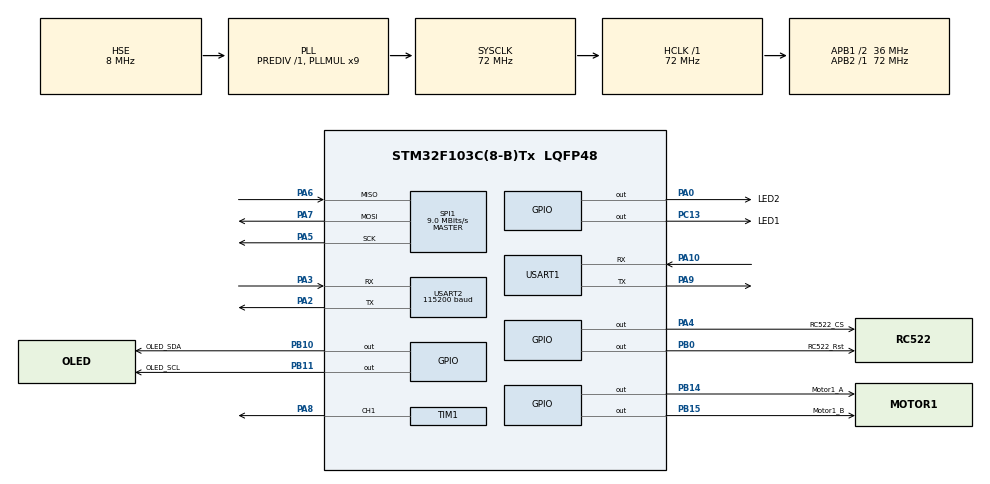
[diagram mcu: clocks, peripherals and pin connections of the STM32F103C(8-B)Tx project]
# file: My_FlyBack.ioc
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Dma.Request0=USART2_RX
Dma.Request1=USART2_TX
Dma.USART2_RX.0.Direction=DMA_PERIPH_TO_MEMORY
Dma.USART2_RX.0.Instance=DMA1_Channel6
Dma.USART2_RX.0.MemDataAlignment=DMA_MDATAALIGN_BYTE
Dma.USART2_RX.0.MemInc=DMA_MINC_ENABLE
Dma.USART2_RX.0.Mode=DMA_CIRCULAR
Dma.USART2_RX.0.PeriphDataAlignment=DMA_PDATAALIGN_BYTE
Dma.USART2_RX.0.PeriphInc=DMA_PINC_DISABLE
Dma.USART2_RX.0.Priority=DMA_PRIORITY_HIGH
Dma.USART2_TX.1.Direction=DMA_MEMORY_TO_PERIPH
Dma.USART2_TX.1.Instance=DMA1_Channel7
Dma.USART2_TX.1.MemDataAlignment=DMA_MDATAALIGN_BYTE
Dma.USART2_TX.1.MemInc=DMA_MINC_ENABLE
Dma.USART2_TX.1.Mode=DMA_CIRCULAR
Dma.USART2_TX.1.PeriphDataAlignment=DMA_PDATAALIGN_BYTE
Dma.USART2_TX.1.PeriphInc=DMA_PINC_DISABLE
Dma.USART2_TX.1.Priority=DMA_PRIORITY_LOW
Mcu.Family=STM32F1
Mcu.Name=STM32F103C(8-B)Tx
Mcu.Package=LQFP48
NVIC.DMA1_Channel6_IRQn=true\:0\:0\:false\:false\:true\:false\:true\:true
NVIC.DMA1_Channel7_IRQn=true\:0\:0\:false\:false\:true\:false\:true\:true
NVIC.PriorityGroup=NVIC_PRIORITYGROUP_4
NVIC.TIM2_IRQn=true\:2\:0\:true\:false\:true\:true\:true\:true
NVIC.USART2_IRQn=true\:0\:0\:false\:false\:true\:true\:true\:true
PA0-WKUP.GPIO_Label=LED2
PA0-WKUP.Signal=GPIO_Output
PA10.Mode=Asynchronous
PA10.Signal=USART1_RX
PA13.Mode=Serial_Wire
PA13.Signal=SYS_JTMS-SWDIO
PA14.Mode=Serial_Wire
PA14.Signal=SYS_JTCK-SWCLK
PA2.Mode=Asynchronous
PA2.Signal=USART2_TX
PA3.Mode=Asynchronous
PA3.Signal=USART2_RX
PA4.GPIO_Label=RC522_CS
PA4.Signal=GPIO_Output
PA5.Mode=Full_Duplex_Master
PA5.Signal=SPI1_SCK
PA6.Mode=Full_Duplex_Master
PA6.Signal=SPI1_MISO
PA7.Mode=Full_Duplex_Master
PA7.Signal=SPI1_MOSI
PA8.Signal=S_TIM1_CH1
PA9.Mode=Asynchronous
PA9.Signal=USART1_TX
PB0.GPIO_Label=RC522_Rst
PB0.Signal=GPIO_Output
PB10.GPIO_Label=OLED_SDA
PB10.GPIO_ModeDefaultOutputPP=GPIO_MODE_OUTPUT_OD
PB10.GPIO_PuPd=GPIO_PULLUP
PB10.GPIO_Speed=GPIO_SPEED_FREQ_HIGH
PB10.PinState=GPIO_PIN_SET
PB10.Signal=GPIO_Output
PB11.GPIO_Label=OLED_SCL
PB11.GPIO_Speed=GPIO_SPEED_FREQ_HIGH
PB11.Signal=GPIO_Output
PB14.GPIO_Label=Motor1_A
PB14.Signal=GPIO_Output
PB15.GPIO_Label=Motor1_B
PB15.Signal=GPIO_Output
PC13-TAMPER-RTC.GPIO_Label=LED1
PC13-TAMPER-RTC.Signal=GPIO_Output
PD0-OSC_IN.Mode=HSE-External-Oscillator
PD0-OSC_IN.Signal=RCC_OSC_IN
PD1-OSC_OUT.Mode=HSE-External-Oscillator
PD1-OSC_OUT.Signal=RCC_OSC_OUT
ProjectManager.HeapSize=0x200
ProjectManager.StackSize=0x400
ProjectManager.TargetToolchain=SW4STM32
RCC.AHBFreq_Value=72000000
RCC.APB1CLKDivider=RCC_HCLK_DIV2
RCC.APB1Freq_Value=36000000
RCC.APB1TimFreq_Value=72000000
RCC.APB2Freq_Value=72000000
RCC.APB2TimFreq_Value=72000000
RCC.HCLKFreq_Value=72000000
RCC.PLLMUL=RCC_PLL_MUL9
RCC.PLLSourceVirtual=RCC_PLLSOURCE_HSE
RCC.SYSCLKFreq_VALUE=72000000
RCC.SYSCLKSource=RCC_SYSCLKSOURCE_PLLCLK
RCC.USBFreq_Value=72000000
SH.S_TIM1_CH1.0=TIM1_CH1,PWM Generation1 CH1
SPI1.BaudRatePrescaler=SPI_BAUDRATEPRESCALER_8
SPI1.CalculateBaudRate=9.0 MBits/s
SPI1.Direction=SPI_DIRECTION_2LINES
SPI1.Mode=SPI_MODE_MASTER
SPI1.VirtualType=VM_MASTER
TIM1.Channel-PWM\ Generation1\ CH1=TIM_CHANNEL_1
TIM1.Period=100 - 1
TIM1.Prescaler=720 - 1
TIM1.Pulse-PWM\ Generation1\ CH1=50
TIM2.Period=1000 - 1
TIM2.Prescaler=720 - 1
USART1.VirtualMode=VM_ASYNC
USART2.BaudRate=115200
USART2.VirtualMode=VM_ASYNC
VP_TIM1_VS_ClockSourceINT.Mode=Internal
VP_TIM2_VS_ClockSourceINT.Mode=Internal
board=custom

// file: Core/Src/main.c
/* USER CODE BEGIN Header */
/**
  ******************************************************************************
  * @file           : main.c
  * @brief          : Main program body
  ******************************************************************************
  * @attention
  *
  * Copyright (c) 2023 STMicroelectronics.
  * All rights reserved.
  *
  * This software is licensed under terms that can be found in the LICENSE file
  * in the root directory of this software component.
  * If no LICENSE file comes with this software, it is provided AS-IS.
  *
  ******************************************************************************
  */
/* USER CODE END Header */
#include <stdarg.h>
#include "main.h"
#include "dma.h"
#include "spi.h"
#include "tim.h"
#include "usart.h"
#include "gpio.h"

/* USER CODE BEGIN Includes */
#include "string.h"
#include "retarget.h"
#include "Motor.h"
#include "Uart_RxPackage.h"
#include "OLED.h"
#include "My_printf.h"
/* USER CODE END Includes */

void SystemClock_Config(void);
/* USER CODE BEGIN PFP */
//#define temp(p) ( (int)(*(p+=sizeof(int))) )
#define temp(p,l) ( (*(l*)(p += sizeof(l))) )
//#define MY_va_arg(v,l)  ( (*(l*)(v += sizeof(l))) )
typedef struct
{
    char b;
    uint16_t a;
    char c;
}__attribute__((packed))Test1;

typedef struct
{
    char c;
    int a;
    char b;
}__attribute__((packed))Test2;
/* USER CODE END PFP */

/* USER CODE BEGIN 0 */
uint8_t k = 0;
uint16_t i = 0,j = 0;
UartRx_Package Uart2_Package;
uint8_t Last_Package[200];
MY_va_list temp;
/* USER CODE END 0 */

int main(void)
{

  /* MCU Configuration--------------------------------------------------------*/

  /* Reset of all peripherals, Initializes the Flash interface and the Systick. */
  HAL_Init();

  /* USER CODE BEGIN Init */
    RetargetInit(&huart1); //重定向串口二
    MY_Retarget(&huart1);
    //HAL_DMA_Start(&hdma1,);
  /* USER CODE END Init */

  /* Configure the system clock */
  SystemClock_Config();

  /* Initialize all configured peripherals */
  MX_GPIO_Init();
  MX_TIM1_Init();
  MX_TIM2_Init();
  MX_DMA_Init();
  MX_SPI1_Init();
  MX_USART2_UART_Init();
  MX_USART1_UART_Init();
  /* USER CODE BEGIN 2 */
    Uart_RxPackage_Init(&Uart2_Package,&htim2,200,&huart2); //初始化串口接收数组
    Uart2_Package.PackageStart(&Uart2_Package);
    HAL_Delay(250);

    OLED_Init();
    OLED_ShowString(1,3,"NICE");
    OLED_ShowString(3,10,"APP");

    int a = 100;
    char string[10];
    double b = 5.5;
    char c = 'p';
    //printf("a = %d\tb = %f\tc = %c\tstring = %s\r\n",a,b,c,"I got it!");
    HAL_Delay(100);
    MY_printf("a = %d\tb = %f\tc = %c\tstring = %s\r\n",a,b,c,"I got it!");
    /* USER CODE END 2 */

  /* Infinite loop */
  while (1)
  {

    /* USER CODE BEGIN 3 */
    //printf("A = %d\r\n",a);
      if(Uart2_Package.RxEndFalg == 1) //说明串口中断接收结束
    {
        Uart_DoTask(&Uart2_Package);
    }
      HAL_GPIO_TogglePin(LED1_GPIO_Port,LED1_Pin);
      HAL_Delay(100);
  }
  /* USER CODE END 3 */
}

void SystemClock_Config(void)
{
  RCC_OscInitTypeDef RCC_OscInitStruct = {0};
  RCC_ClkInitTypeDef RCC_ClkInitStruct = {0};

  /** Initializes the RCC Oscillators according to the specified parameters
  * in the RCC_OscInitTypeDef structure.
  */
  RCC_OscInitStruct.OscillatorType = RCC_OSCILLATORTYPE_HSE;
  RCC_OscInitStruct.HSEState = RCC_HSE_ON;
  RCC_OscInitStruct.HSEPredivValue = RCC_HSE_PREDIV_DIV1;
  RCC_OscInitStruct.HSIState = RCC_HSI_ON;
  RCC_OscInitStruct.PLL.PLLState = RCC_PLL_ON;
  RCC_OscInitStruct.PLL.PLLSource = RCC_PLLSOURCE_HSE;
  RCC_OscInitStruct.PLL.PLLMUL = RCC_PLL_MUL9;
  if (HAL_RCC_OscConfig(&RCC_OscInitStruct) != HAL_OK)
  {
    Error_Handler();
  }

  /** Initializes the CPU, AHB and APB buses clocks
  */
  RCC_ClkInitStruct.ClockType = RCC_CLOCKTYPE_HCLK|RCC_CLOCKTYPE_SYSCLK
                              |RCC_CLOCKTYPE_PCLK1|RCC_CLOCKTYPE_PCLK2;
  RCC_ClkInitStruct.SYSCLKSource = RCC_SYSCLKSOURCE_PLLCLK;
  RCC_ClkInitStruct.AHBCLKDivider = RCC_SYSCLK_DIV1;
  RCC_ClkInitStruct.APB1CLKDivider = RCC_HCLK_DIV2;
  RCC_ClkInitStruct.APB2CLKDivider = RCC_HCLK_DIV1;

  if (HAL_RCC_ClockConfig(&RCC_ClkInitStruct, FLASH_LATENCY_2) != HAL_OK)
  {
    Error_Handler();
  }
}

void Error_Handler(void)
{
  __disable_irq();
  while (1)
  {
  }
}
